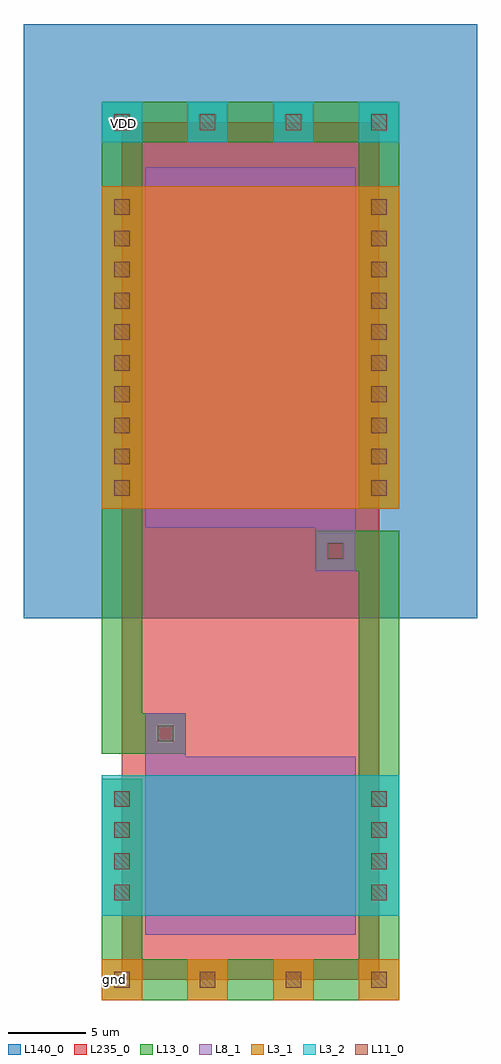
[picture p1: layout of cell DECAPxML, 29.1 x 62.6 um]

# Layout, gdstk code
import gdstk
lib = gdstk.Library(unit=1e-6, precision=1e-09)
def R(c, l, rs):  # rectangles x0, y0, x1, y1
    for r in rs: c.add(gdstk.rectangle(r[:2], r[2:], *l))
def A(c, l, x, y, w, h, nx, ny, dx, dy):  # array of equal rectangles
    R(c, l, [(x+i*dx, y+j*dy, x+i*dx+w, y+j*dy+h) for i in range(nx) for j in range(ny)])
L3_1 = (3, 1)
L3_2 = (3, 2)
L8_1 = (8, 1)
L11_0 = (11, 0)
L13_0 = (13, 0)
L140_0 = (140, 0)
L235_0 = (235, 0)

cont_n_9 = lib.new_cell('cont_n$9')
R(cont_n_9, L3_2, [(-1.3,-1.3,1.3,1.3)])
R(cont_n_9, L11_0, [(-0.5,-0.5,0.5,0.5)])
R(cont_n_9, L13_0, [(-1.3,-1.3,1.3,1.3)])

cont_p_9 = lib.new_cell('cont_p$9')
R(cont_p_9, L3_1, [(-1.3,-1.3,1.3,1.3)])
R(cont_p_9, L11_0, [(-0.5,-0.5,0.5,0.5)])
R(cont_p_9, L13_0, [(-1.3,-1.3,1.3,1.3)])

cont_g_8 = lib.new_cell('cont_g$8')
R(cont_g_8, L8_1, [(-1.3,-1.3,1.3,1.3)])
R(cont_g_8, L11_0, [(-0.5,-0.5,0.5,0.5)])
R(cont_g_8, L13_0, [(-1.3,-1.3,1.3,1.3)])

fet_n_1_5 = lib.new_cell('fet_n$1$5')
R(fet_n_1_5, L3_2, [(-9.55,-4.5,9.55,4.5)])
A(fet_n_1_5, L11_0, -8.75, -3.5, 1, 1, 1, 4, 0, 2)
A(fet_n_1_5, L11_0, 7.75, -3.5, 1, 1, 1, 4, 0, 2)
R(fet_n_1_5, L13_0, [(-9.55,-4.3,-6.95,4.3), (6.95,-4.3,9.55,4.3)])
fet_n_1_5.add(gdstk.FlexPath([(0,-5.7),(0,5.7)], 13.5, ends="flush", simple_path=True, layer=8, datatype=1))  # L8_1

fet_p_5 = lib.new_cell('fet_p$5')
R(fet_p_5, L3_1, [(-9.55,-10.35,9.55,10.35)])
A(fet_p_5, L11_0, -8.75, -9.5, 1, 1, 1, 10, 0, 2)
A(fet_p_5, L11_0, 7.75, -9.5, 1, 1, 1, 10, 0, 2)
R(fet_p_5, L13_0, [(-9.55,-10.3,-6.95,10.3), (6.95,-10.3,9.55,10.3)])
fet_p_5.add(gdstk.FlexPath([(0,-11.55),(0,11.55)], 13.5, ends="flush", simple_path=True, layer=8, datatype=1))  # L8_1

decapxml = lib.new_cell('DECAPxML')
R(decapxml, L8_1, [(2,14.3,4.6,14.5), (12.9,28.8,15.5,29)])
R(decapxml, L140_0, [(-5.8,23.2,23.3,61.3)])
R(decapxml, L235_0, [(0.5,0,17,55)])
decapxml.add(gdstk.FlexPath([(17,5.6),(17,0)], 2.6, ends="extended", simple_path=True, layer=13, datatype=0))  # L13_0
decapxml.add(gdstk.FlexPath([(14.2,27.5),(17,27.5),(17,11.5)], 2.6, ends="extended", simple_path=True, layer=13, datatype=0))  # L13_0
decapxml.add(gdstk.FlexPath([(3.3,15.8),(0.5,15.8),(0.5,31.5)], 2.6, ends="extended", simple_path=True, layer=13, datatype=0))  # L13_0
decapxml.add(gdstk.FlexPath([(0.5,49.547),(0.5,54.997)], 2.6, ends="extended", simple_path=True, layer=13, datatype=0))  # L13_0
decapxml.add(gdstk.FlexPath([(0.5,5.6),(0.5,0)], 2.6, ends="extended", simple_path=True, layer=13, datatype=0))  # L13_0
decapxml.add(gdstk.FlexPath([(17,49.55),(17,55)], 2.6, ends="extended", simple_path=True, layer=13, datatype=0))  # L13_0
decapxml.add(gdstk.FlexPath([(0.5,55),(17,55)], 2.6, ends="extended", simple_path=True, layer=13, datatype=0))  # L13_0
decapxml.add(gdstk.FlexPath([(0.5,0),(17,0)], 2.6, ends="extended", simple_path=True, layer=13, datatype=0))  # L13_0
decapxml.add(gdstk.Reference(cont_n_9, (0.5,55)))
decapxml.add(gdstk.Reference(cont_n_9, (6,55)))
decapxml.add(gdstk.Reference(cont_n_9, (11.5,55)))
decapxml.add(gdstk.Reference(cont_n_9, (17,55)))
decapxml.add(gdstk.Reference(cont_p_9, (0.5,0)))
decapxml.add(gdstk.Reference(cont_p_9, (6,0)))
decapxml.add(gdstk.Reference(cont_p_9, (11.5,0)))
decapxml.add(gdstk.Reference(cont_p_9, (17,0)))
decapxml.add(gdstk.Reference(cont_g_8, (3.3,15.8)))
decapxml.add(gdstk.Reference(cont_g_8, (14.2,27.5)))
decapxml.add(gdstk.Reference(fet_n_1_5, (8.75,8.6)))
decapxml.add(gdstk.Reference(fet_p_5, (8.75,40.55)))
decapxml.add(gdstk.Label('VDD', (0.6,54.9), layer=48, texttype=0))
decapxml.add(gdstk.Label('gnd', (0,0), layer=48, texttype=0))

lib.write_gds('DECAPxML.gds')
